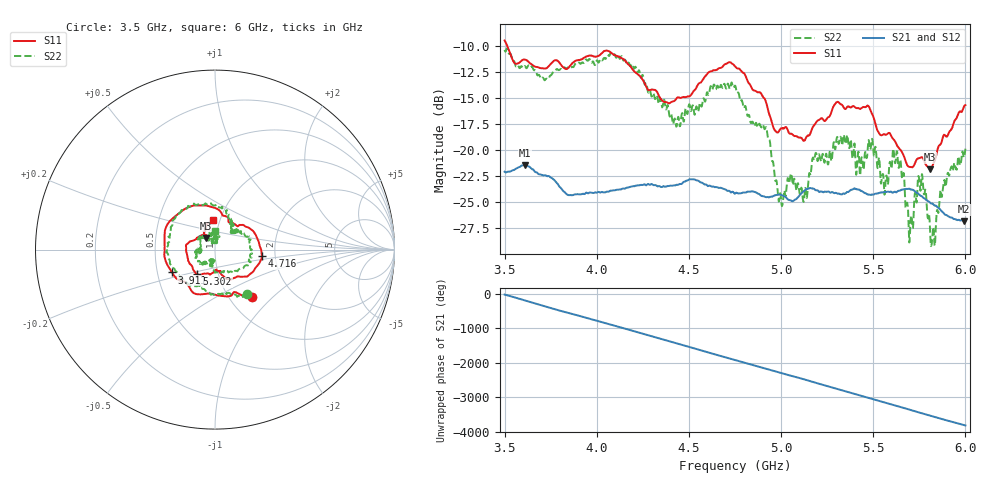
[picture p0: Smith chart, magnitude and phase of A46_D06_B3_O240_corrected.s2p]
! Created with skrf 1.9.0 (http://scikit-rf.org).
# Hz S RI R 50.0
!freq ReS11 ImS11 ReS21 ImS21 ReS12 ImS12 ReS22 ImS22
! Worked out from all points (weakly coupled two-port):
!   1601 points, 3.5 GHz to 6 GHz, reference 50 ohm
!   highest |S21| = -21.41 dB at 3.609 GHz (marker M1); lowest = -26.8 dB at 5.994 GHz (marker M2)
!   lowest |S11| = -21.8 dB at 5.809 GHz (marker M3), VSWR 1.18, Z = 45 + j5.85 ohm
!   |S11| at or under -10 dB: 3.514 GHz to end of sweep
!   |S22| runs from -29.2 to -10.3 dB; largest |S21 - S12| = 0.00096
!   S11 on the Smith chart (normalised r, x): 3.5 GHz: 1.26, -0.76; 3.911 GHz: 0.60, -0.16; 4.716 GHz: 1.70, -0.14; 5.302 GHz: 0.79, -0.22; 6 GHz: 0.92, +0.31
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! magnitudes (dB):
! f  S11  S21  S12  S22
! 3.5 GHz  -9.5  -22.1  -22.0  -10.4
! 3.609 GHz  -11.3  -21.4  -21.4  -11.9
! 3.911 GHz  -11.3  -24.2  -24.2  -11.7
! 3.917 GHz  -11.3  -24.2  -24.2  -11.6
! 4.127 GHz  -11.1  -23.8  -23.7  -11.2
! 4.334 GHz  -14.7  -23.4  -23.4  -15.5
! 4.442 GHz  -14.9  -23.3  -23.3  -16.8
! 4.716 GHz  -11.6  -23.9  -23.9  -13.8
! 4.75 GHz  -12.0  -24.2  -24.1  -13.8
! 4.914 GHz  -15.2  -24.5  -24.4  -17.9
! 4.997 GHz  -18.0  -24.3  -24.2  -24.2
! 5.047 GHz  -18.4  -24.8  -24.8  -22.9
! 5.13 GHz  -19.0  -23.8  -23.8  -23.8
! 5.167 GHz  -18.0  -23.7  -23.6  -21.2
! 5.302 GHz  -15.4  -24.1  -24.1  -18.9
! 5.584 GHz  -18.3  -24.0  -23.9  -22.2
! 5.638 GHz  -19.8  -23.9  -23.8  -21.7
! 5.705 GHz  -21.6  -23.8  -23.7  -26.3
! 5.756 GHz  -20.7  -24.4  -24.3  -23.9
! 5.809 GHz  -21.8  -25.1  -25.0  -28.3
! 5.994 GHz  -15.8  -26.8  -26.7  -20.6
! 6 GHz  -15.7  -26.8  -26.7  -19.9
